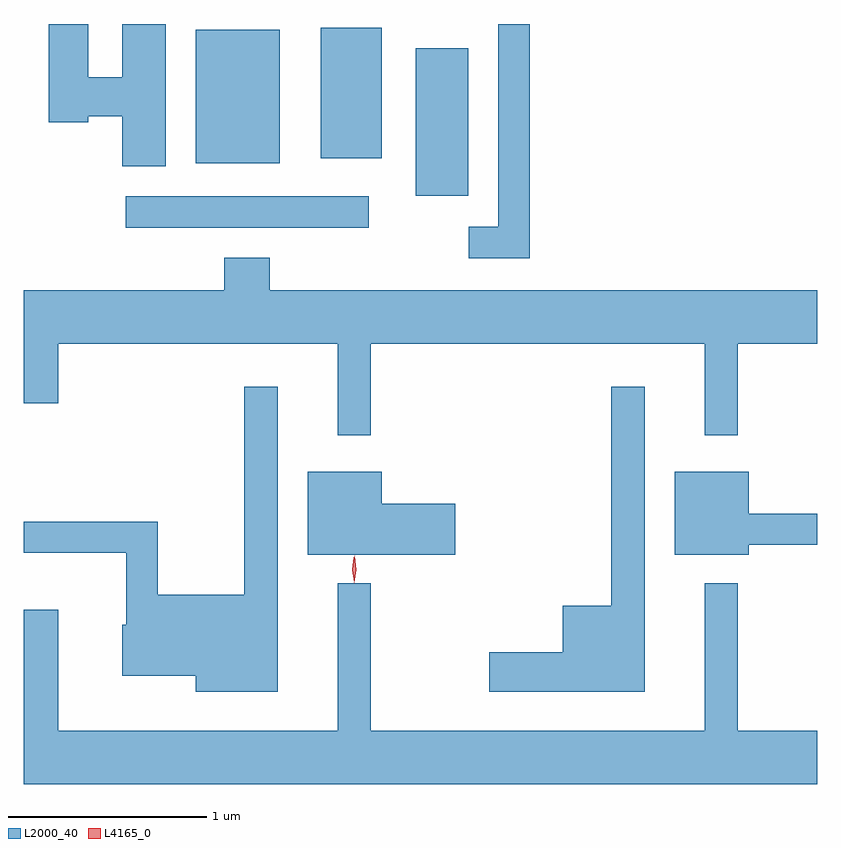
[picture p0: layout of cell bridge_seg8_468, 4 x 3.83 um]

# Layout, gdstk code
import gdstk
lib = gdstk.Library(unit=1e-6, precision=1e-09)
def R(c, l, rs):  # rectangles x0, y0, x1, y1
    for r in rs: c.add(gdstk.rectangle(r[:2], r[2:], *l))
def P(c, l, *ps):  # polygons
    for p in ps: c.add(gdstk.Polygon(p, *l))
L2000_40 = (2000, 40)
L4165_0 = (4165, 0)

bridge_seg8_468 = lib.new_cell('bridge_seg8_468')
R(bridge_seg8_468, L2000_40, [(595.303,1885.841,596.528,1885.999), (596.766,1886.001,597.029,1886.744), (595.656,1886.166,596.079,1886.839), (596.286,1886.191,596.594,1886.849)])
P(bridge_seg8_468, L2000_40, [(595.504,1886.867),(595.286,1886.867),(595.286,1886.599),(595.114,1886.599),(595.114,1886.867),(594.916,1886.867),(594.916,1886.371),(595.114,1886.371),(595.114,1886.401),(595.286,1886.401),(595.286,1886.151),(595.504,1886.151)],
  [(597.339,1886.867),(597.181,1886.867),(597.181,1885.844),(597.033,1885.844),(597.033,1885.686),(597.339,1885.686)],
  [(596.539,1885.256),(598.221,1885.256),(598.221,1884.793),(598.389,1884.793),(598.389,1885.256),(598.789,1885.256),(598.789,1885.524),(596.029,1885.524),(596.029,1885.689),(595.801,1885.689),(595.801,1885.524),(594.789,1885.524),(594.789,1884.956),(594.964,1884.956),(594.964,1885.256),(596.371,1885.256),(596.371,1884.793),(596.539,1884.793)],
  [(597.919,1885.038),(597.751,1885.038),(597.751,1883.934),(597.506,1883.934),(597.506,1883.699),(597.136,1883.699),(597.136,1883.501),(597.919,1883.501)],
  [(596.069,1885.038),(595.901,1885.038),(595.901,1883.989),(595.464,1883.989),(595.464,1884.359),(594.789,1884.359),(594.789,1884.201),(595.306,1884.201),(595.306,1883.839),(595.286,1883.839),(595.286,1883.581),(595.656,1883.581),(595.656,1883.501),(596.069,1883.501)],
  [(598.444,1884.241),(598.789,1884.241),(598.789,1884.399),(598.444,1884.399),(598.444,1884.609),(598.071,1884.609),(598.071,1884.191),(598.444,1884.191)],
  [(596.964,1884.449),(596.594,1884.449),(596.594,1884.609),(596.221,1884.609),(596.221,1884.191),(596.964,1884.191)],
  [(598.789,1883.304),(598.389,1883.304),(598.389,1884.048),(598.221,1884.048),(598.221,1883.304),(596.539,1883.304),(596.539,1884.048),(596.371,1884.048),(596.371,1883.304),(594.964,1883.304),(594.964,1883.914),(594.789,1883.914),(594.789,1883.036),(598.789,1883.036)])
P(bridge_seg8_468, L4165_0, [(596.456,1884.049),(596.455,1884.05),(596.447,1884.118),(596.457,1884.185),(596.457,1884.186),(596.458,1884.185),(596.466,1884.117),(596.456,1884.05)],
  [(596.454,1884.053),(596.454,1884.053),(596.444,1884.116),(596.453,1884.179),(596.453,1884.18),(596.454,1884.179),(596.464,1884.116),(596.455,1884.053)])

lib.write_gds('bridge_seg8_468.gds')
